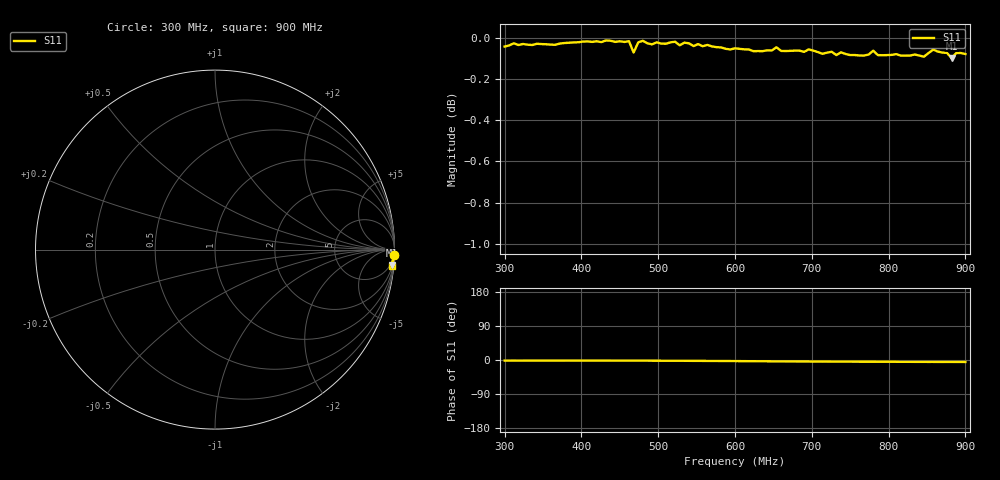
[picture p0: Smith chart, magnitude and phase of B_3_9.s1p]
# HZ S RI R 50
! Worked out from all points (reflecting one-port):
!   101 points, 300 MHz to 900 MHz, reference 50 ohm
!   lowest |S11| = -0.1 dB at 882 MHz (marker M1), VSWR 178.30, Z = 140 - j1.11e+03 ohm
!   phase of S11 starts at -2 deg and turns -4 deg over the sweep
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3e8  0.9948 -0.028
3.78e8  0.9969 -0.0267
4.5e8  0.9978 -0.0286
4.62e8  0.9979 -0.0291
4.68e8  0.9915 -0.03
4.74e8  0.9972 -0.0294
4.8e8  0.998 -0.0304
4.92e8  0.9959 -0.032
5.22e8  0.9973 -0.0361
5.28e8  0.9952 -0.0367
6e8  0.9931 -0.0493
6.24e8  0.9913 -0.0537
6.48e8  0.9912 -0.0617
6.54e8  0.9929 -0.0627
6.78e8  0.9907 -0.0665
6.96e8  0.9913 -0.0686
7.02e8  0.9903 -0.0726
7.2e8  0.9893 -0.0722
7.5e8  0.9875 -0.0769
7.68e8  0.9871 -0.0783
7.8e8  0.9898 -0.0788
7.86e8  0.9873 -0.0799
8.28e8  0.9867 -0.0837
8.46e8  0.9859 -0.0859
8.58e8  0.9897 -0.0868
8.82e8  0.9849 -0.0878
8.88e8  0.9876 -0.0894
9e8  0.9871 -0.0894
